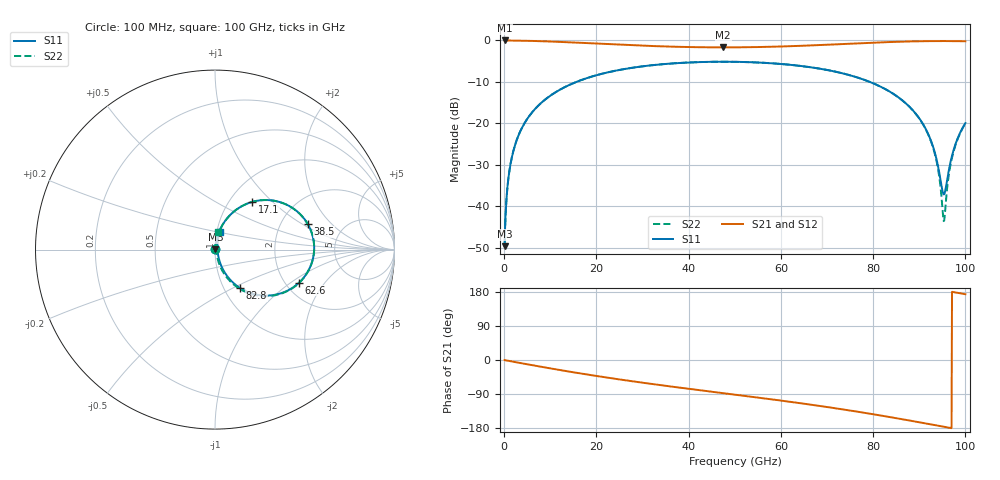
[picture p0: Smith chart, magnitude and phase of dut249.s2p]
! Touchstone file exported from HFSS 2026.1.0
!  File:  C:/ffzhzh/LocalFiles/Ansys_Project_Files/temp_train_RDL_249_1783501475_55944.aedt
!  Generated:  05:05:59 PM Jul  8, 2026
!  Design:  RDL
!  Project:  temp_train_RDL_249_1783501475_55944
! Variables:
!  h_bsmrdl = 2um
!  h_ox = 20um
!  h_rdl = 5um
!  h_sub = 80um
!  h_tmrdl = 4.38um
!  h_tsv = 80um
!  h_via = 3um
!  l_bsmrdl = 300um
!  l_sub = 1009.79um
!  l_tmrdl = 609.79um
!  m_sub = 200um
!  pitch = 57.64um
!  r_tsv = 6um
!  s_tmrdl = 10um
!  w_bsmrdl = 18um
!  w_sub = 500um
!  w_tmrdl = 25.84um
!  x_tsv_center1 = 622.71um
!  x_tsv_center2 = 940.71um
!  x_tsv_center3 = 1576.34um
!  x_tsv_center4 = 1894.34um
!  x_tsv_center5 = 2529.97um
!  x_tsv_center6 = 2847.97um
# GHz S MA R 50.000000
! Terminal data exported
! Port[1] = TM_RDL1_1_T1
! Port[2] = TM_RDL1_1_T2
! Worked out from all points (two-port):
!   1000 points, 100 MHz to 100 GHz, reference 50 ohm
!   highest |S21| = -0.02 dB at 100 MHz (marker M1); lowest = -1.7 dB at 47.5 GHz (marker M2)
!   |S21| within 3 dB of the highest: start of sweep to end of sweep
!   lowest |S11| = -49.6 dB at 100 MHz (marker M3), VSWR 1.01, Z = 50.2 + j0.254 ohm
!   |S11| at or under -10 dB: start of sweep to 15.71 GHz; 79.24 GHz to end of sweep
!   |S22| runs from -49.6 to -5.1 dB; largest |S21 - S12| = 1.8e-14
!   S11 on the Smith chart (normalised r, x): 100 MHz: 1.00, +0.01; 17.1 GHz: 1.27, +0.76; 38.5 GHz: 2.80, +1.13; 62.6 GHz: 2.37, -1.16; 82.8 GHz: 1.19, -0.54; 100 GHz: 1.03, +0.20
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0.1  0.003295 50.0  0.9979 -0.2  0.9979 -0.2  0.003295 50.0
! Gamma 0 0 0 0
! Port Impedance 50 0 50 0
0.8  0.01895 80.0  0.9971 -1.8  0.9971 -1.8  0.01895 80.0
1.4  0.03266 81.6  0.9965 -3.2  0.9965 -3.2  0.03266 81.6
3.9  0.08893 78.3  0.9917 -8.9  0.9917 -8.9  0.08893 78.3
8.9  0.1936 68.1  0.974 -19.8  0.974 -19.8  0.1936 68.1
16.8  0.3335 52.5  0.9336 -36.0  0.9336 -36.0  0.3335 52.5
17.1  0.3381 51.9  0.9319 -36.6  0.9319 -36.6  0.3381 51.9
33.4  0.5103 23.5  0.8499 -65.5  0.8499 -65.5  0.5103 23.5
38.5  0.5357 15.5  0.8344 -73.6  0.8344 -73.6  0.5357 15.4
47.5  0.5527 1.9  0.8234 -87.5  0.8234 -87.5  0.5527 1.7
50.1  0.5513 -2.0  0.8242 -91.5  0.8242 -91.5  0.5513 -2.2
62.6  0.5037 -21.3  0.853 -111.3  0.853 -111.3  0.5037 -21.7
66.7  0.4719 -28.1  0.8702 -118.2  0.8702 -118.2  0.4719 -28.5
82.8  0.2556 -56.9  0.9516 -148.9  0.9516 -148.9  0.2555 -58.1
83.4  0.2447 -58.0  0.9543 -150.1  0.9543 -150.1  0.2445 -59.3
88.4  0.1476 -66.4  0.9723 -160.8  0.9723 -160.8  0.1473 -68.9
91.8  0.07705 -68.8  0.9794 -168.3  0.9794 -168.3  0.07628 -73.9
93.7  0.0377 -61.8  0.9812 -172.5  0.9812 -172.5  0.03587 -72.5
95.3  0.01387 0.8  0.9814 -176.1  0.9814 -176.1  0.006606 -3.2
95.6  0.01507 25.6  0.9813 -176.7  0.9813 -176.7  0.0087 43.8
97.3  0.04471 70.7  0.9801 179.5  0.9801 179.5  0.0428 80.2
100  0.1007 74.9  0.9755 173.5  0.9755 173.5  0.09977 79.4
